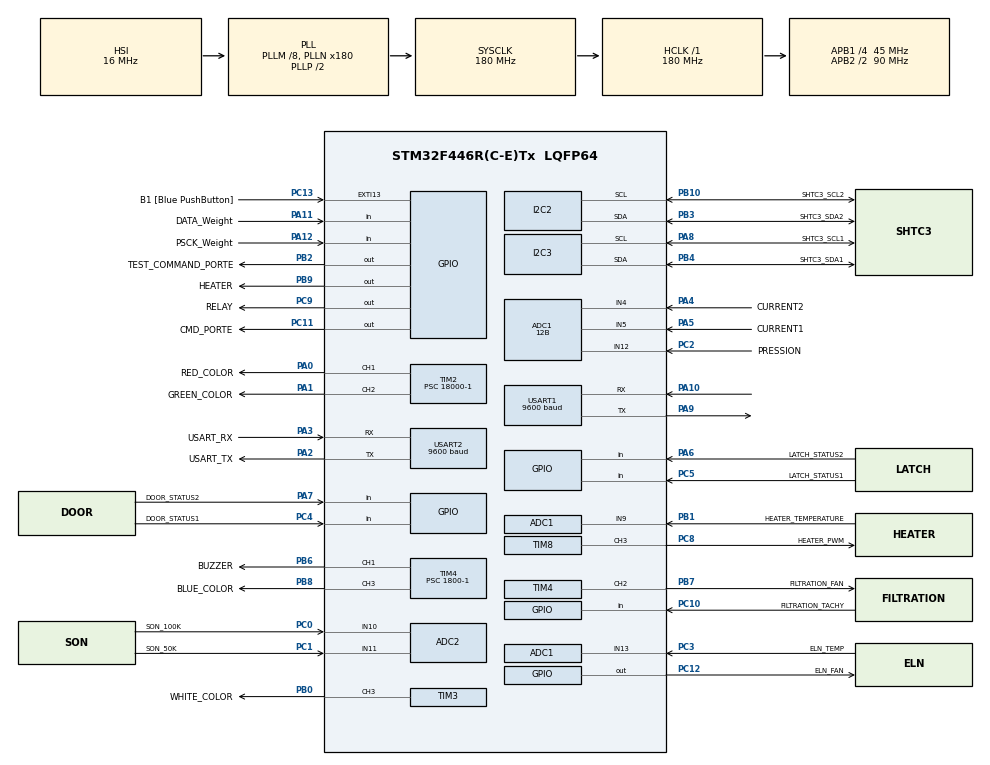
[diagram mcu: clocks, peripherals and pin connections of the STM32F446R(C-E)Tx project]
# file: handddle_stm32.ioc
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ADC1.Channel-0\#ChannelRegularConversion=ADC_CHANNEL_4
ADC1.Channel-1\#ChannelRegularConversion=ADC_CHANNEL_5
ADC1.Channel-2\#ChannelRegularConversion=ADC_CHANNEL_12
ADC1.Channel-3\#ChannelRegularConversion=ADC_CHANNEL_13
ADC1.Channel-4\#ChannelRegularConversion=ADC_CHANNEL_9
ADC1.ClockPrescaler=ADC_CLOCK_SYNC_PCLK_DIV6
ADC1.ContinuousConvMode=ENABLE
ADC1.NbrOfConversion=5
ADC1.NbrOfConversionFlag=1
ADC1.Rank-0\#ChannelRegularConversion=1
ADC1.Rank-1\#ChannelRegularConversion=2
ADC1.Rank-2\#ChannelRegularConversion=3
ADC1.Rank-3\#ChannelRegularConversion=4
ADC1.Rank-4\#ChannelRegularConversion=5
ADC1.Resolution=ADC_RESOLUTION_12B
ADC1.SamplingTime-0\#ChannelRegularConversion=ADC_SAMPLETIME_112CYCLES
ADC1.SamplingTime-1\#ChannelRegularConversion=ADC_SAMPLETIME_112CYCLES
ADC1.SamplingTime-2\#ChannelRegularConversion=ADC_SAMPLETIME_3CYCLES
ADC1.SamplingTime-3\#ChannelRegularConversion=ADC_SAMPLETIME_3CYCLES
ADC1.SamplingTime-4\#ChannelRegularConversion=ADC_SAMPLETIME_3CYCLES
ADC1.ScanConvMode=ENABLE
ADC1.master=1
ADC2.Channel-0\#ChannelRegularConversion=ADC_CHANNEL_10
ADC2.Channel-1\#ChannelRegularConversion=ADC_CHANNEL_11
ADC2.ClockPrescaler=ADC_CLOCK_SYNC_PCLK_DIV6
ADC2.DMAContinuousRequests=ENABLE
ADC2.NbrOfConversion=2
ADC2.NbrOfConversionFlag=1
ADC2.Rank-0\#ChannelRegularConversion=1
ADC2.Rank-1\#ChannelRegularConversion=2
ADC2.SamplingTime-0\#ChannelRegularConversion=ADC_SAMPLETIME_3CYCLES
ADC2.SamplingTime-1\#ChannelRegularConversion=ADC_SAMPLETIME_3CYCLES
Dma.ADC2.0.Direction=DMA_PERIPH_TO_MEMORY
Dma.ADC2.0.FIFOMode=DMA_FIFOMODE_DISABLE
Dma.ADC2.0.Instance=DMA2_Stream2
Dma.ADC2.0.MemDataAlignment=DMA_MDATAALIGN_HALFWORD
Dma.ADC2.0.MemInc=DMA_MINC_ENABLE
Dma.ADC2.0.Mode=DMA_CIRCULAR
Dma.ADC2.0.PeriphDataAlignment=DMA_PDATAALIGN_HALFWORD
Dma.ADC2.0.PeriphInc=DMA_PINC_DISABLE
Dma.ADC2.0.Priority=DMA_PRIORITY_LOW
Dma.Request0=ADC2
I2C2.I2C_Mode=I2C_Standard
I2C2.OwnAddress=0
I2C3.OwnAddress=0
Mcu.Family=STM32F4
Mcu.Name=STM32F446R(C-E)Tx
Mcu.Package=LQFP64
NVIC.ADC_IRQn=true\:0\:0\:false\:false\:true\:true\:true
NVIC.DMA2_Stream2_IRQn=true\:0\:0\:false\:false\:true\:false\:true
NVIC.PriorityGroup=NVIC_PRIORITYGROUP_2
NVIC.TIM1_BRK_TIM9_IRQn=true\:0\:0\:false\:false\:true\:true\:true
NVIC.TIM1_UP_TIM10_IRQn=true\:1\:0\:true\:false\:true\:true\:true
NVIC.TIM7_IRQn=true\:3\:0\:true\:false\:true\:true\:true
NVIC.TIM8_UP_TIM13_IRQn=true\:0\:0\:false\:false\:true\:true\:true
NVIC.USART1_IRQn=true\:0\:0\:false\:false\:true\:true\:true
NVIC.USART2_IRQn=true\:0\:0\:false\:false\:true\:true\:true
PA0-WKUP.GPIO_Label=RED_COLOR
PA0-WKUP.Signal=S_TIM2_CH1_ETR
PA1.GPIO_Label=GREEN_COLOR
PA1.Signal=S_TIM2_CH2
PA10.Mode=Asynchronous
PA10.Signal=USART1_RX
PA11.GPIO_Label=DATA_Weight
PA11.Signal=GPIO_Input
PA12.GPIO_Label=PSCK_Weight
PA12.Signal=GPIO_Input
PA13.GPIO_Label=TMS
PA13.Signal=SYS_JTMS-SWDIO
PA14.Signal=SYS_JTCK-SWCLK
PA2.GPIO_Label=USART_TX
PA2.Mode=Asynchronous
PA2.Signal=USART2_TX
PA3.GPIO_Label=USART_RX
PA3.Mode=Asynchronous
PA3.Signal=USART2_RX
PA4.GPIO_Label=CURRENT2
PA4.Signal=ADCx_IN4
PA5.GPIO_Label=CURRENT1
PA5.Signal=ADCx_IN5
PA6.GPIO_Label=LATCH_STATUS2
PA6.GPIO_PuPd=GPIO_PULLUP
PA6.Signal=GPIO_Input
PA7.GPIO_Label=DOOR_STATUS2
PA7.GPIO_PuPd=GPIO_NOPULL
PA7.Signal=GPIO_Input
PA8.GPIO_Label=SHTC3_SCL1
PA8.GPIO_Pu=GPIO_PULLUP
PA8.Mode=I2C
PA8.Signal=I2C3_SCL
PA9.Mode=Asynchronous
PA9.Signal=USART1_TX
PB0.GPIO_Label=WHITE_COLOR
PB0.Signal=S_TIM3_CH3
PB1.GPIO_Label=HEATER_TEMPERATURE
PB1.Signal=ADCx_IN9
PB10.GPIO_Label=SHTC3_SCL2
PB10.GPIO_Pu=GPIO_PULLUP
PB10.Mode=I2C
PB10.Signal=I2C2_SCL
PB2.GPIO_Label=TEST_COMMAND_PORTE
PB2.Signal=GPIO_Output
PB3.GPIO_Label=SHTC3_SDA2
PB3.GPIO_Pu=GPIO_PULLUP
PB3.Mode=I2C
PB3.Signal=I2C2_SDA
PB4.GPIO_Label=SHTC3_SDA1
PB4.GPIO_Pu=GPIO_PULLUP
PB4.Mode=I2C
PB4.Signal=I2C3_SDA
PB6.GPIO_Label=BUZZER
PB6.Signal=S_TIM4_CH1
PB7.GPIO_Label=FILTRATION_FAN
PB7.Signal=S_TIM4_CH2
PB8.GPIO_Label=BLUE_COLOR
PB8.Signal=S_TIM4_CH3
PB9.GPIO_Label=HEATER
PB9.Signal=GPIO_Output
PC0.GPIO_Label=SON_100K
PC0.Signal=ADCx_IN10
PC1.GPIO_Label=SON_50K
PC1.Signal=ADCx_IN11
PC10.GPIO_Label=FILTRATION_TACHY
PC10.Signal=GPIO_Input
PC11.GPIO_Label=CMD_PORTE
PC11.Signal=GPIO_Output
PC12.GPIO_Label=ELN_FAN
PC12.Signal=GPIO_Output
PC13.GPIO_Label=B1 [Blue PushButton]
PC13.GPIO_ModeDefaultEXTI=GPIO_MODE_IT_FALLING
PC13.Signal=GPXTI13
PC14-OSC32_IN.Mode=LSE-External-Oscillator
PC14-OSC32_IN.Signal=RCC_OSC32_IN
PC15-OSC32_OUT.Mode=LSE-External-Oscillator
PC15-OSC32_OUT.Signal=RCC_OSC32_OUT
PC2.GPIO_Label=PRESSION
PC2.Signal=ADCx_IN12
PC3.GPIO_Label=ELN_TEMP
PC3.Signal=ADCx_IN13
PC4.GPIO_Label=DOOR_STATUS1
PC4.GPIO_PuPd=GPIO_PULLUP
PC4.Signal=GPIO_Input
PC5.GPIO_Label=LATCH_STATUS1
PC5.GPIO_PuPd=GPIO_PULLUP
PC5.Signal=GPIO_Input
PC6.GPIO_Label=HEATER_TACHY
PC6.Signal=S_TIM8_CH1
PC8.GPIO_Label=HEATER_PWM
PC8.Signal=S_TIM8_CH3
PC9.GPIO_Label=RELAY
PC9.GPIO_PuPd=GPIO_PULLDOWN
PC9.PinState=GPIO_PIN_RESET
PC9.Signal=GPIO_Output
PH0-OSC_IN.Mode=HSE-External-Oscillator
PH0-OSC_IN.Signal=RCC_OSC_IN
PH1-OSC_OUT.Mode=HSE-External-Oscillator
PH1-OSC_OUT.Signal=RCC_OSC_OUT
ProjectManager.HeapSize=0x200
ProjectManager.StackSize=0x400
ProjectManager.TargetToolchain=STM32CubeIDE
RCC.48MHZClocksFreq_Value=84000000
RCC.AHBFreq_Value=180000000
RCC.APB1CLKDivider=RCC_HCLK_DIV4
RCC.APB1Freq_Value=45000000
RCC.APB1TimFreq_Value=90000000
RCC.APB2CLKDivider=RCC_HCLK_DIV2
RCC.APB2Freq_Value=90000000
RCC.APB2TimFreq_Value=180000000
RCC.CortexFreq_Value=180000000
RCC.FLatency-AdvancedSettings=FLASH_LATENCY_5
RCC.HCLKFreq_Value=180000000
RCC.HSE_VALUE=8000000
RCC.HSI_VALUE=16000000
RCC.PLLM=8
RCC.PLLN=180
RCC.SYSCLKFreq_VALUE=180000000
RCC.SYSCLKSource=RCC_SYSCLKSOURCE_PLLCLK
RCC.USBFreq_Value=180000000
RCC.VCOOutputFreq_Value=360000000
SH.ADCx_IN10.0=ADC2_IN10,IN10
SH.ADCx_IN11.0=ADC2_IN11,IN11
SH.ADCx_IN12.0=ADC1_IN12,IN12
SH.ADCx_IN13.0=ADC1_IN13,IN13
SH.ADCx_IN4.0=ADC1_IN4,IN4
SH.ADCx_IN5.0=ADC1_IN5,IN5
SH.ADCx_IN9.0=ADC1_IN9,IN9
SH.S_TIM2_CH1_ETR.0=TIM2_CH1,PWM Generation1 CH1
SH.S_TIM2_CH2.0=TIM2_CH2,PWM Generation2 CH2
SH.S_TIM3_CH3.0=TIM3_CH3,PWM Generation3 CH3
SH.S_TIM4_CH1.0=TIM4_CH1,PWM Generation1 CH1
SH.S_TIM4_CH2.0=TIM4_CH2,PWM Generation2 CH2
SH.S_TIM4_CH3.0=TIM4_CH3,PWM Generation3 CH3
SH.S_TIM8_CH1.0=TIM8_CH1
SH.S_TIM8_CH3.0=TIM8_CH3,PWM Generation3 CH3
TIM1.Period=1000-1
TIM1.Prescaler=18000-1
TIM10.Period=50-1
TIM10.Prescaler=18000-1
TIM2.Channel-PWM\ Generation1\ CH1=TIM_CHANNEL_1
TIM2.Channel-PWM\ Generation2\ CH2=TIM_CHANNEL_2
TIM2.Period=100-1
TIM2.Prescaler=18000-1
TIM3.Channel-PWM\ Generation3\ CH3=TIM_CHANNEL_3
TIM3.Period=100-1
TIM3.Prescaler=90-1
TIM4.Channel-PWM\ Generation1\ CH1=TIM_CHANNEL_1
TIM4.Channel-PWM\ Generation2\ CH2=TIM_CHANNEL_2
TIM4.Channel-PWM\ Generation3\ CH3=TIM_CHANNEL_3
TIM4.Period=100-1
TIM4.Prescaler=1800-1
TIM6.Period=20000
TIM6.Prescaler=90-1
TIM6.TIM_MasterOutputTrigger=TIM_TRGO_RESET
TIM7.Period=90-1
TIM7.Prescaler=10-1
TIM8.Channel-PWM\ Generation3\ CH3=TIM_CHANNEL_3
TIM8.Period=100-1
TIM8.Prescaler=90-1
USART1.BaudRate=9600
USART1.VirtualMode=VM_ASYNC
USART2.BaudRate=9600
USART2.VirtualMode=VM_ASYNC
VP_TIM10_VS_ClockSourceINT.Mode=Enable_Timer
VP_TIM1_VS_ClockSourceINT.Mode=Internal
VP_TIM6_VS_ClockSourceINT.Mode=Enable_Timer
VP_TIM7_VS_ClockSourceINT.Mode=Enable_Timer
board=NUCLEO-F446RE

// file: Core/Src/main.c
/* USER CODE BEGIN Header */
/**
  ******************************************************************************
  * @file           : main.c
  * @brief          : Main program body
  ******************************************************************************
  * @attention
  *
  * <h2><center>&copy; Copyright (c) 2021 STMicroelectronics.
  * All rights reserved.</center></h2>
  *
  * This software component is licensed by ST under BSD 3-Clause license,
  * the "License"; You may not use this file except in compliance with the
  * License. You may obtain a copy of the License at:
  *                        opensource.org/licenses/BSD-3-Clause
  *
  ******************************************************************************
  */
/* USER CODE END Header */
#include "main.h"

/* USER CODE BEGIN Includes */
#include "../Inc/main.h"
#include "../../Transport/Parser/parser.h"
#include "../../Lib/inc/ELN_temperature.h"
#include "../../Lib/inc/Microphone.h"
#include "../../Lib/inc/Demo.h"
#include "../../Lib/inc/Current.h"
#include "../../Lib/inc/Fire.h"
#include "../../Lib/inc/Temp_humi.h"
#include "../../Lib/inc/Typology.h"
#include "../../Transport/Msg_gen/Main_msg_gen/main_msg_gen.h"
#include "../../Transport/Parser/Cmd_msg_parser/cmd_msg_parser.h"
#include <string.h>

#include "../../Lib/inc/Weight.h"

/* USER CODE END Includes */

/* USER CODE BEGIN PD */

// Maximum Security Constant
#define TEMPERATURE_BREAKDOWN 60.0

// For CMD Door
#define CLOSE_DOOR 0

//BUZZER IN SECOND
#define MAX_OPENING_TIME_M 60
#define MAX_OPENING_TIME_PT 300

/* USER CODE END PD */

ADC_HandleTypeDef hadc1;
ADC_HandleTypeDef hadc2;
DMA_HandleTypeDef hdma_adc2;

I2C_HandleTypeDef hi2c2;
I2C_HandleTypeDef hi2c3;

TIM_HandleTypeDef htim1;
TIM_HandleTypeDef htim2;
TIM_HandleTypeDef htim3;
TIM_HandleTypeDef htim4;
TIM_HandleTypeDef htim6;
TIM_HandleTypeDef htim7;
TIM_HandleTypeDef htim8;
TIM_HandleTypeDef htim10;

UART_HandleTypeDef huart1;
UART_HandleTypeDef huart2;

void SystemClock_Config(void);
static void MX_GPIO_Init(void);
static void MX_DMA_Init(void);
static void MX_ADC1_Init(void);
static void MX_TIM2_Init(void);
static void MX_USART2_UART_Init(void);
static void MX_USART1_UART_Init(void);
static void MX_TIM3_Init(void);
static void MX_TIM4_Init(void);
static void MX_TIM6_Init(void);
static void MX_I2C2_Init(void);
static void MX_I2C3_Init(void);
static void MX_ADC2_Init(void);
static void MX_TIM8_Init(void);
static void MX_TIM7_Init(void);
static void MX_TIM10_Init(void);
static void MX_TIM1_Init(void);
/* USER CODE BEGIN PFP */
void HAL_TIM_MspPostInit(TIM_HandleTypeDef *htim);
/* USER CODE END PFP */

/* USER CODE BEGIN 0 */

// Buffer used to store received bytes from the Jetson card
uint8_t Rx_buffer[MSG_SIZE];

// System active Variable
int system_is_active = SYSTEM_ACTIVE;

// Night Mode
int night_mode = NIGHT_MODE_INACTIVE;

// Manual Mode
uint8_t manual_mode = MODE_MANUAL;
uint8_t manual_mode_temperature = MODE_MANUAL;
uint8_t manual_mode_filtration = MODE_MANUAL;

// Opening Door Request
int req_opening_door = false;

// Counter Variables
int cpt_htim7 = 0;
int cpt_current_ADC_EN = 0;
int cpt_1sec_EN = 0;
int cpt_current_EN = 0;
int cpt_data_tx_EN = 0;

// Current Counter Variable
volatile int index_adc_current = 0;

// Delay Counter Variable
volatile int delay_counter = 0; // +1 each 1.002 sec

/* Door State Variable */
int status = CLOSED; // Variable EE
uint8_t cmd_door_state; // Variable cmd

// State Diagram Variable
int state = 4; // TODO Define states constants
int preheat_over = false;

// Relay variable
int CMD_Relay = false;
uint16_t relay_state = true;

// Buzzer linked Variable
int buzzer_state = 1; // TODO Define buzzer states
int compteur_buzzer = 0, compteur_porte = 0;
int CPT_CoolingDoorClosed = COOLING_T_DOOR_CLOSED; // //Faire +2 sur le temps souhaité pour avoir le temps réel
int fermeture_porte=0;
int i_timer1 = 0;

const int LOW_STATE_TIME = 3;
const int HIGH_STATE_TIME = 2;

const int HIGH_STATE_TIME_BUZZER_M = MAX_OPENING_TIME_M + HIGH_STATE_TIME;
const int LOW_STATE_TIME_BUZZER_M = MAX_OPENING_TIME_M - LOW_STATE_TIME;

const int HIGH_STATE_TIME_BUZZER_PT = MAX_OPENING_TIME_PT + HIGH_STATE_TIME;
const int LOW_STATE_TIME_BUZZER_PT = MAX_OPENING_TIME_PT - LOW_STATE_TIME;

// Light Variable
extern int light;
int p_light;

// Temperatures & Humidity variables
int desired_temperature = 22;
float desired_temperature_manual = 0;
float moy_temperature = 0;
float moy_humidity = 0;

// Current variables
int current_breakdown = 0;

// Current variables
extern int tab_ConsumptionValues[1000];
extern int i_current;
extern int Incorrect_Values;
int i_timer7 = 0;
extern int i_timer5;
int Cycle_Printer;
int last_watchdog_time = 0;
float tabEXEMPLE[1500];
float tabEXEMPLE2[1500];
float MAX; //extern
float MIN; // extern

// Weight sensor
int getWeight;
int cpt_GetWeight;

//  Initializing door state
int DOOR_Previous_State;

// HEATING & COOLING
int temperature;
int DELTA = 1.0;
extern int heater_actif, dutycycle_heater;
int dutycycle_cooling = 0;

// Pressure
int c_Pressure = 0, p_Pressure = 0, DELTA_Pressure = 50;

//Fire variable
uint16_t co2;
uint16_t tvoc;
int Fire;

/* USER CODE END 0 */

int main(void)
{

  /* MCU Configuration--------------------------------------------------------*/

  /* Reset of all peripherals, Initializes the Flash interface and the Systick. */
  HAL_Init();

  /* Configure the system clock */
  SystemClock_Config();

  /* Initialize all configured peripherals */
  MX_GPIO_Init();
  MX_DMA_Init();
  MX_ADC1_Init();
  MX_TIM2_Init();
  MX_USART2_UART_Init();
  MX_USART1_UART_Init();
  MX_TIM3_Init();
  MX_TIM4_Init();
  MX_TIM6_Init();
  MX_I2C2_Init();
  MX_I2C3_Init();
  MX_ADC2_Init();
  MX_TIM8_Init();
  MX_TIM7_Init();
  MX_TIM10_Init();
  MX_TIM1_Init();
  /* USER CODE BEGIN 2 */

	// Start Timers
	HAL_TIM_Base_Start_IT(&htim7);

	// Start UART reception
	HAL_UART_Receive_IT(&huart2, Rx_buffer, MSG_SIZE);
	send_cmd_ack_with_value(&huart2, 100);

	// Init values to STOP
	int pwm_stop = 0;
	set_heater_pwm(pwm_stop);
	set_heater(pwm_stop);
//	set_cooling(100);

	//White color as default
	if((MSG_HEADER_UID_1 == TYPE_MACHINE_RACK) || (MSG_HEADER_UID_1 == TYPE_MACHINE_TOIT)) light = WHITE_DOOR_OPEN;
	else if(MSG_HEADER_UID_1 == TYPE_POST_TREATMENT) light = WHITE_PT;
	p_light = light;
	set_lights(light);

	//For heater
	if(MSG_HEADER_UID_1 == TYPE_MACHINE_RACK) heater_actif = 0;

	// DOOR lock
	set_unlock(status);
	DOOR_Previous_State = get_door_state();

	// Initialization weight
	Calibration();
	cpt_GetWeight=0;

	//Initialize SGP30
	if(-1 == sgp30_init()) {
		//fail
		//wait
		while(1);
	} //else success of init

	if(MSG_HEADER_UID_1 == TYPE_MACHINE_RACK) heater_actif = 0;

	//Current
	MAX = tabEXEMPLE[0]; //extern
	MIN = tabEXEMPLE[0]; // extern

  /* USER CODE END 2 */

  /* Infinite loop */
  /* USER CODE BEGIN WHILE */
  while (1)
  {
	  if(system_is_active == SYSTEM_ACTIVE && MSG_HEADER_UID_1 != TYPE_MP)
	  {
//		  if(MSG_HEADER_UID_1 == TYPE_MACHINE_TOIT || MSG_HEADER_UID_1 == TYPE_POST_TREATMENT) door_cycle();
//		  asservissement(desired_temperature);// Asservissement chauffage
//		  HAL_Delay(50);
	}

    /* USER CODE END WHILE */

  }
}

void SystemClock_Config(void)
{
  RCC_OscInitTypeDef RCC_OscInitStruct = {0};
  RCC_ClkInitTypeDef RCC_ClkInitStruct = {0};

  /** Configure the main internal regulator output voltage
  */
  __HAL_RCC_PWR_CLK_ENABLE();
  __HAL_PWR_VOLTAGESCALING_CONFIG(PWR_REGULATOR_VOLTAGE_SCALE1);
  /** Initializes the RCC Oscillators according to the specified parameters
  * in the RCC_OscInitTypeDef structure.
  */
  RCC_OscInitStruct.OscillatorType = RCC_OSCILLATORTYPE_HSI;
  RCC_OscInitStruct.HSIState = RCC_HSI_ON;
  RCC_OscInitStruct.HSICalibrationValue = RCC_HSICALIBRATION_DEFAULT;
  RCC_OscInitStruct.PLL.PLLState = RCC_PLL_ON;
  RCC_OscInitStruct.PLL.PLLSource = RCC_PLLSOURCE_HSI;
  RCC_OscInitStruct.PLL.PLLM = 8;
  RCC_OscInitStruct.PLL.PLLN = 180;
  RCC_OscInitStruct.PLL.PLLP = RCC_PLLP_DIV2;
  RCC_OscInitStruct.PLL.PLLQ = 2;
  RCC_OscInitStruct.PLL.PLLR = 2;
  if (HAL_RCC_OscConfig(&RCC_OscInitStruct) != HAL_OK)
  {
    Error_Handler();
  }
  /** Activate the Over-Drive mode
  */
  if (HAL_PWREx_EnableOverDrive() != HAL_OK)
  {
    Error_Handler();
  }
  /** Initializes the CPU, AHB and APB buses clocks
  */
  RCC_ClkInitStruct.ClockType = RCC_CLOCKTYPE_HCLK|RCC_CLOCKTYPE_SYSCLK
                              |RCC_CLOCKTYPE_PCLK1|RCC_CLOCKTYPE_PCLK2;
  RCC_ClkInitStruct.SYSCLKSource = RCC_SYSCLKSOURCE_PLLCLK;
  RCC_ClkInitStruct.AHBCLKDivider = RCC_SYSCLK_DIV1;
  RCC_ClkInitStruct.APB1CLKDivider = RCC_HCLK_DIV4;
  RCC_ClkInitStruct.APB2CLKDivider = RCC_HCLK_DIV2;

  if (HAL_RCC_ClockConfig(&RCC_ClkInitStruct, FLASH_LATENCY_5) != HAL_OK)
  {
    Error_Handler();
  }
}

static void MX_ADC1_Init(void)
{

  ADC_ChannelConfTypeDef sConfig = {0};

  /** Configure the global features of the ADC (Clock, Resolution, Data Alignment and number of conversion)
  */
  hadc1.Instance = ADC1;
  hadc1.Init.ClockPrescaler = ADC_CLOCK_SYNC_PCLK_DIV6;
  hadc1.Init.Resolution = ADC_RESOLUTION_12B;
  hadc1.Init.ScanConvMode = ENABLE;
  hadc1.Init.ContinuousConvMode = ENABLE;
  hadc1.Init.DiscontinuousConvMode = DISABLE;
  hadc1.Init.ExternalTrigConvEdge = ADC_EXTERNALTRIGCONVEDGE_NONE;
  hadc1.Init.ExternalTrigConv = ADC_SOFTWARE_START;
  hadc1.Init.DataAlign = ADC_DATAALIGN_RIGHT;
  hadc1.Init.NbrOfConversion = 5;
  hadc1.Init.DMAContinuousRequests = DISABLE;
  hadc1.Init.EOCSelection = ADC_EOC_SINGLE_CONV;
  if (HAL_ADC_Init(&hadc1) != HAL_OK)
  {
    Error_Handler();
  }
  /** Configure for the selected ADC regular channel its corresponding rank in the sequencer and its sample time.
  */
  sConfig.Channel = ADC_CHANNEL_4;
  sConfig.Rank = 1;
  sConfig.SamplingTime = ADC_SAMPLETIME_112CYCLES;
  if (HAL_ADC_ConfigChannel(&hadc1, &sConfig) != HAL_OK)
  {
    Error_Handler();
  }
  /** Configure for the selected ADC regular channel its corresponding rank in the sequencer and its sample time.
  */
  sConfig.Channel = ADC_CHANNEL_5;
  sConfig.Rank = 2;
  if (HAL_ADC_ConfigChannel(&hadc1, &sConfig) != HAL_OK)
  {
    Error_Handler();
  }
  /** Configure for the selected ADC regular channel its corresponding rank in the sequencer and its sample time.
  */
  sConfig.Channel = ADC_CHANNEL_12;
  sConfig.Rank = 3;
  sConfig.SamplingTime = ADC_SAMPLETIME_3CYCLES;
  if (HAL_ADC_ConfigChannel(&hadc1, &sConfig) != HAL_OK)
  {
    Error_Handler();
  }
  /** Configure for the selected ADC regular channel its corresponding rank in the sequencer and its sample time.
  */
  sConfig.Channel = ADC_CHANNEL_13;
  sConfig.Rank = 4;
  if (HAL_ADC_ConfigChannel(&hadc1, &sConfig) != HAL_OK)
  {
    Error_Handler();
  }
  /** Configure for the selected ADC regular channel its corresponding rank in the sequencer and its sample time.
  */
  sConfig.Channel = ADC_CHANNEL_9;
  sConfig.Rank = 5;
  if (HAL_ADC_ConfigChannel(&hadc1, &sConfig) != HAL_OK)
  {
    Error_Handler();
  }

}

static void MX_ADC2_Init(void)
{

  ADC_ChannelConfTypeDef sConfig = {0};

  /** Configure the global features of the ADC (Clock, Resolution, Data Alignment and number of conversion)
  */
  hadc2.Instance = ADC2;
  hadc2.Init.ClockPrescaler = ADC_CLOCK_SYNC_PCLK_DIV6;
  hadc2.Init.Resolution = ADC_RESOLUTION_12B;
  hadc2.Init.ScanConvMode = ENABLE;
  hadc2.Init.ContinuousConvMode = ENABLE;
  hadc2.Init.DiscontinuousConvMode = DISABLE;
  hadc2.Init.ExternalTrigConvEdge = ADC_EXTERNALTRIGCONVEDGE_NONE;
  hadc2.Init.ExternalTrigConv = ADC_SOFTWARE_START;
  hadc2.Init.DataAlign = ADC_DATAALIGN_RIGHT;
  hadc2.Init.NbrOfConversion = 2;
  hadc2.Init.DMAContinuousRequests = ENABLE;
  hadc2.Init.EOCSelection = ADC_EOC_SINGLE_CONV;
  if (HAL_ADC_Init(&hadc2) != HAL_OK)
  {
    Error_Handler();
  }
  /** Configure for the selected ADC regular channel its corresponding rank in the sequencer and its sample time.
  */
  sConfig.Channel = ADC_CHANNEL_10;
  sConfig.Rank = 1;
  sConfig.SamplingTime = ADC_SAMPLETIME_3CYCLES;
  if (HAL_ADC_ConfigChannel(&hadc2, &sConfig) != HAL_OK)
  {
    Error_Handler();
  }
  /** Configure for the selected ADC regular channel its corresponding rank in the sequencer and its sample time.
  */
  sConfig.Channel = ADC_CHANNEL_11;
  sConfig.Rank = 2;
  if (HAL_ADC_ConfigChannel(&hadc2, &sConfig) != HAL_OK)
  {
    Error_Handler();
  }

}

static void MX_I2C2_Init(void)
{

  hi2c2.Instance = I2C2;
  hi2c2.Init.ClockSpeed = 100000;
  hi2c2.Init.DutyCycle = I2C_DUTYCYCLE_2;
  hi2c2.Init.OwnAddress1 = 0;
  hi2c2.Init.AddressingMode = I2C_ADDRESSINGMODE_7BIT;
  hi2c2.Init.DualAddressMode = I2C_DUALADDRESS_DISABLE;
  hi2c2.Init.OwnAddress2 = 0;
  hi2c2.Init.GeneralCallMode = I2C_GENERALCALL_DISABLE;
  hi2c2.Init.NoStretchMode = I2C_NOSTRETCH_DISABLE;
  if (HAL_I2C_Init(&hi2c2) != HAL_OK)
  {
    Error_Handler();
  }

}

static void MX_I2C3_Init(void)
{

  hi2c3.Instance = I2C3;
  hi2c3.Init.ClockSpeed = 100000;
  hi2c3.Init.DutyCycle = I2C_DUTYCYCLE_2;
  hi2c3.Init.OwnAddress1 = 0;
  hi2c3.Init.AddressingMode = I2C_ADDRESSINGMODE_7BIT;
  hi2c3.Init.DualAddressMode = I2C_DUALADDRESS_DISABLE;
  hi2c3.Init.OwnAddress2 = 0;
  hi2c3.Init.GeneralCallMode = I2C_GENERALCALL_DISABLE;
  hi2c3.Init.NoStretchMode = I2C_NOSTRETCH_DISABLE;
  if (HAL_I2C_Init(&hi2c3) != HAL_OK)
  {
    Error_Handler();
  }

}

static void MX_TIM1_Init(void)
{

  TIM_ClockConfigTypeDef sClockSourceConfig = {0};
  TIM_MasterConfigTypeDef sMasterConfig = {0};

  htim1.Instance = TIM1;
  htim1.Init.Prescaler = 18000-1;
  htim1.Init.CounterMode = TIM_COUNTERMODE_UP;
  htim1.Init.Period = 1000-1;
  htim1.Init.ClockDivision = TIM_CLOCKDIVISION_DIV1;
  htim1.Init.RepetitionCounter = 0;
  htim1.Init.AutoReloadPreload = TIM_AUTORELOAD_PRELOAD_DISABLE;
  if (HAL_TIM_Base_Init(&htim1) != HAL_OK)
  {
    Error_Handler();
  }
  sClockSourceConfig.ClockSource = TIM_CLOCKSOURCE_INTERNAL;
  if (HAL_TIM_ConfigClockSource(&htim1, &sClockSourceConfig) != HAL_OK)
  {
    Error_Handler();
  }
  sMasterConfig.MasterOutputTrigger = TIM_TRGO_RESET;
  sMasterConfig.MasterSlaveMode = TIM_MASTERSLAVEMODE_DISABLE;
  if (HAL_TIMEx_MasterConfigSynchronization(&htim1, &sMasterConfig) != HAL_OK)
  {
    Error_Handler();
  }

}

static void MX_TIM2_Init(void)
{

  TIM_MasterConfigTypeDef sMasterConfig = {0};
  TIM_OC_InitTypeDef sConfigOC = {0};

  htim2.Instance = TIM2;
  htim2.Init.Prescaler = 18000-1;
  htim2.Init.CounterMode = TIM_COUNTERMODE_UP;
  htim2.Init.Period = 100-1;
  htim2.Init.ClockDivision = TIM_CLOCKDIVISION_DIV1;
  htim2.Init.AutoReloadPreload = TIM_AUTORELOAD_PRELOAD_DISABLE;
  if (HAL_TIM_PWM_Init(&htim2) != HAL_OK)
  {
    Error_Handler();
  }
  sMasterConfig.MasterOutputTrigger = TIM_TRGO_RESET;
  sMasterConfig.MasterSlaveMode = TIM_MASTERSLAVEMODE_DISABLE;
  if (HAL_TIMEx_MasterConfigSynchronization(&htim2, &sMasterConfig) != HAL_OK)
  {
    Error_Handler();
  }
  sConfigOC.OCMode = TIM_OCMODE_PWM1;
  sConfigOC.Pulse = 0;
  sConfigOC.OCPolarity = TIM_OCPOLARITY_HIGH;
  sConfigOC.OCFastMode = TIM_OCFAST_DISABLE;
  if (HAL_TIM_PWM_ConfigChannel(&htim2, &sConfigOC, TIM_CHANNEL_1) != HAL_OK)
  {
    Error_Handler();
  }
  if (HAL_TIM_PWM_ConfigChannel(&htim2, &sConfigOC, TIM_CHANNEL_2) != HAL_OK)
  {
    Error_Handler();
  }
  HAL_TIM_MspPostInit(&htim2);

}

static void MX_TIM3_Init(void)
{

  TIM_MasterConfigTypeDef sMasterConfig = {0};
  TIM_OC_InitTypeDef sConfigOC = {0};

  htim3.Instance = TIM3;
  htim3.Init.Prescaler = 90-1;
  htim3.Init.CounterMode = TIM_COUNTERMODE_UP;
  htim3.Init.Period = 100-1;
  htim3.Init.ClockDivision = TIM_CLOCKDIVISION_DIV1;
  htim3.Init.AutoReloadPreload = TIM_AUTORELOAD_PRELOAD_DISABLE;
  if (HAL_TIM_PWM_Init(&htim3) != HAL_OK)
  {
    Error_Handler();
  }
  sMasterConfig.MasterOutputTrigger = TIM_TRGO_RESET;
  sMasterConfig.MasterSlaveMode = TIM_MASTERSLAVEMODE_DISABLE;
  if (HAL_TIMEx_MasterConfigSynchronization(&htim3, &sMasterConfig) != HAL_OK)
  {
    Error_Handler();
  }
  sConfigOC.OCMode = TIM_OCMODE_PWM1;
  sConfigOC.Pulse = 0;
  sConfigOC.OCPolarity = TIM_OCPOLARITY_HIGH;
  sConfigOC.OCFastMode = TIM_OCFAST_DISABLE;
  if (HAL_TIM_PWM_ConfigChannel(&htim3, &sConfigOC, TIM_CHANNEL_3) != HAL_OK)
  {
    Error_Handler();
  }
  HAL_TIM_MspPostInit(&htim3);

}

static void MX_TIM4_Init(void)
{

  TIM_MasterConfigTypeDef sMasterConfig = {0};
  TIM_OC_InitTypeDef sConfigOC = {0};

  htim4.Instance = TIM4;
  htim4.Init.Prescaler = 1800-1;
  htim4.Init.CounterMode = TIM_COUNTERMODE_UP;
  htim4.Init.Period = 100-1;
  htim4.Init.ClockDivision = TIM_CLOCKDIVISION_DIV1;
  htim4.Init.AutoReloadPreload = TIM_AUTORELOAD_PRELOAD_DISABLE;
  if (HAL_TIM_PWM_Init(&htim4) != HAL_OK)
  {
    Error_Handler();
  }
  sMasterConfig.MasterOutputTrigger = TIM_TRGO_RESET;
  sMasterConfig.MasterSlaveMode = TIM_MASTERSLAVEMODE_DISABLE;
  if (HAL_TIMEx_MasterConfigSynchronization(&htim4, &sMasterConfig) != HAL_OK)
  {
    Error_Handler();
  }
  sConfigOC.OCMode = TIM_OCMODE_PWM1;
  sConfigOC.Pulse = 0;
  sConfigOC.OCPolarity = TIM_OCPOLARITY_HIGH;
  sConfigOC.OCFastMode = TIM_OCFAST_DISABLE;
  if (HAL_TIM_PWM_ConfigChannel(&htim4, &sConfigOC, TIM_CHANNEL_1) != HAL_OK)
  {
    Error_Handler();
  }
  if (HAL_TIM_PWM_ConfigChannel(&htim4, &sConfigOC, TIM_CHANNEL_2) != HAL_OK)
  {
    Error_Handler();
  }
  if (HAL_TIM_PWM_ConfigChannel(&htim4, &sConfigOC, TIM_CHANNEL_3) != HAL_OK)
  {
    Error_Handler();
  }
  HAL_TIM_MspPostInit(&htim4);

}

static void MX_TIM6_Init(void)
{

  TIM_MasterConfigTypeDef sMasterConfig = {0};

  htim6.Instance = TIM6;
  htim6.Init.Prescaler = 90-1;
  htim6.Init.CounterMode = TIM_COUNTERMODE_UP;
  htim6.Init.Period = 20000;
  htim6.Init.AutoReloadPreload = TIM_AUTORELOAD_PRELOAD_DISABLE;
  if (HAL_TIM_Base_Init(&htim6) != HAL_OK)
  {
    Error_Handler();
  }
  sMasterConfig.MasterOutputTrigger = TIM_TRGO_RESET;
  sMasterConfig.MasterSlaveMode = TIM_MASTERSLAVEMODE_DISABLE;
  if (HAL_TIMEx_MasterConfigSynchronization(&htim6, &sMasterConfig) != HAL_OK)
  {
    Error_Handler();
  }

}

static void MX_TIM7_Init(void)
{

  TIM_MasterConfigTypeDef sMasterConfig = {0};

  htim7.Instance = TIM7;
  htim7.Init.Prescaler = 10-1;
  htim7.Init.CounterMode = TIM_COUNTERMODE_UP;
  htim7.Init.Period = 90-1;
  htim7.Init.AutoReloadPreload = TIM_AUTORELOAD_PRELOAD_DISABLE;
  if (HAL_TIM_Base_Init(&htim7) != HAL_OK)
  {
    Error_Handler();
  }
  sMasterConfig.MasterOutputTrigger = TIM_TRGO_RESET;
  sMasterConfig.MasterSlaveMode = TIM_MASTERSLAVEMODE_DISABLE;
  if (HAL_TIMEx_MasterConfigSynchronization(&htim7, &sMasterConfig) != HAL_OK)
  {
    Error_Handler();
  }

}

static void MX_TIM8_Init(void)
{

  TIM_MasterConfigTypeDef sMasterConfig = {0};
  TIM_OC_InitTypeDef sConfigOC = {0};
  TIM_BreakDeadTimeConfigTypeDef sBreakDeadTimeConfig = {0};

  htim8.Instance = TIM8;
  htim8.Init.Prescaler = 90-1;
  htim8.Init.CounterMode = TIM_COUNTERMODE_UP;
  htim8.Init.Period = 100-1;
  htim8.Init.ClockDivision = TIM_CLOCKDIVISION_DIV1;
  htim8.Init.RepetitionCounter = 0;
  htim8.Init.AutoReloadPreload = TIM_AUTORELOAD_PRELOAD_DISABLE;
  if (HAL_TIM_PWM_Init(&htim8) != HAL_OK)
  {
    Error_Handler();
  }
  sMasterConfig.MasterOutputTrigger = TIM_TRGO_RESET;
  sMasterConfig.MasterSlaveMode = TIM_MASTERSLAVEMODE_DISABLE;
  if (HAL_TIMEx_MasterConfigSynchronization(&htim8, &sMasterConfig) != HAL_OK)
  {
    Error_Handler();
  }
  sConfigOC.OCMode = TIM_OCMODE_PWM1;
  sConfigOC.Pulse = 0;
  sConfigOC.OCPolarity = TIM_OCPOLARITY_HIGH;
  sConfigOC.OCNPolarity = TIM_OCNPOLARITY_HIGH;
  sConfigOC.OCFastMode = TIM_OCFAST_DISABLE;
  sConfigOC.OCIdleState = TIM_OCIDLESTATE_RESET;
  sConfigOC.OCNIdleState = TIM_OCNIDLESTATE_RESET;
  if (HAL_TIM_PWM_ConfigChannel(&htim8, &sConfigOC, TIM_CHANNEL_3) != HAL_OK)
  {
    Error_Handler();
  }
  sBreakDeadTimeConfig.OffStateRunMode = TIM_OSSR_DISABLE;
  sBreakDeadTimeConfig.OffStateIDLEMode = TIM_OSSI_DISABLE;
  sBreakDeadTimeConfig.LockLevel = TIM_LOCKLEVEL_OFF;
  sBreakDeadTimeConfig.DeadTime = 0;
  sBreakDeadTimeConfig.BreakState = TIM_BREAK_DISABLE;
  sBreakDeadTimeConfig.BreakPolarity = TIM_BREAKPOLARITY_HIGH;
  sBreakDeadTimeConfig.AutomaticOutput = TIM_AUTOMATICOUTPUT_DISABLE;
  if (HAL_TIMEx_ConfigBreakDeadTime(&htim8, &sBreakDeadTimeConfig) != HAL_OK)
  {
    Error_Handler();
  }
  HAL_TIM_MspPostInit(&htim8);

}

static void MX_TIM10_Init(void)
{

  htim10.Instance = TIM10;
  htim10.Init.Prescaler = 18000-1;
  htim10.Init.CounterMode = TIM_COUNTERMODE_UP;
  htim10.Init.Period = 50-1;
  htim10.Init.ClockDivision = TIM_CLOCKDIVISION_DIV1;
  htim10.Init.AutoReloadPreload = TIM_AUTORELOAD_PRELOAD_DISABLE;
  if (HAL_TIM_Base_Init(&htim10) != HAL_OK)
  {
    Error_Handler();
  }

}

static void MX_USART1_UART_Init(void)
{

  huart1.Instance = USART1;
  huart1.Init.BaudRate = 9600;
  huart1.Init.WordLength = UART_WORDLENGTH_8B;
  huart1.Init.StopBits = UART_STOPBITS_1;
  huart1.Init.Parity = UART_PARITY_NONE;
  huart1.Init.Mode = UART_MODE_TX_RX;
  huart1.Init.HwFlowCtl = UART_HWCONTROL_NONE;
  huart1.Init.OverSampling = UART_OVERSAMPLING_16;
  if (HAL_UART_Init(&huart1) != HAL_OK)
  {
    Error_Handler();
  }

}

static void MX_USART2_UART_Init(void)
{

  huart2.Instance = USART2;
  huart2.Init.BaudRate = 9600;
  huart2.Init.WordLength = UART_WORDLENGTH_8B;
  huart2.Init.StopBits = UART_STOPBITS_1;
  huart2.Init.Parity = UART_PARITY_NONE;
  huart2.Init.Mode = UART_MODE_TX_RX;
  huart2.Init.HwFlowCtl = UART_HWCONTROL_NONE;
  huart2.Init.OverSampling = UART_OVERSAMPLING_16;
  if (HAL_UART_Init(&huart2) != HAL_OK)
  {
    Error_Handler();
  }

}

static void MX_DMA_Init(void)
{

  /* DMA controller clock enable */
  __HAL_RCC_DMA2_CLK_ENABLE();

  /* DMA interrupt init */
  /* DMA2_Stream2_IRQn interrupt configuration */
  HAL_NVIC_SetPriority(DMA2_Stream2_IRQn, 0, 0);
  HAL_NVIC_EnableIRQ(DMA2_Stream2_IRQn);

}

static void MX_GPIO_Init(void)
{
  GPIO_InitTypeDef GPIO_InitStruct = {0};

  /* GPIO Ports Clock Enable */
  __HAL_RCC_GPIOC_CLK_ENABLE();
  __HAL_RCC_GPIOH_CLK_ENABLE();
  __HAL_RCC_GPIOA_CLK_ENABLE();
  __HAL_RCC_GPIOB_CLK_ENABLE();

  /*Configure GPIO pin Output Level */
  HAL_GPIO_WritePin(GPIOB, TEST_COMMAND_PORTE_Pin|HEATER_Pin, GPIO_PIN_RESET);

  /*Configure GPIO pin Output Level */
  HAL_GPIO_WritePin(GPIOC, RELAY_Pin|CMD_PORTE_Pin|ELN_FAN_Pin, GPIO_PIN_RESET);

  /*Configure GPIO pin : B1_Pin */
  GPIO_InitStruct.Pin = B1_Pin;
  GPIO_InitStruct.Mode = GPIO_MODE_IT_FALLING;
  GPIO_InitStruct.Pull = GPIO_NOPULL;
  HAL_GPIO_Init(B1_GPIO_Port, &GPIO_InitStruct);

  /*Configure GPIO pin : LATCH_STATUS2_Pin */
  GPIO_InitStruct.Pin = LATCH_STATUS2_Pin;
  GPIO_InitStruct.Mode = GPIO_MODE_INPUT;
  GPIO_InitStruct.Pull = GPIO_PULLUP;
  HAL_GPIO_Init(LATCH_STATUS2_GPIO_Port, &GPIO_InitStruct);

  /*Configure GPIO pins : DOOR_STATUS2_Pin DATA_Weight_Pin PSCK_Weight_Pin */
  GPIO_InitStruct.Pin = DOOR_STATUS2_Pin|DATA_Weight_Pin|PSCK_Weight_Pin;
  GPIO_InitStruct.Mode = GPIO_MODE_INPUT;
  GPIO_InitStruct.Pull = GPIO_NOPULL;
  HAL_GPIO_Init(GPIOA, &GPIO_InitStruct);

  /*Configure GPIO pins : DOOR_STATUS1_Pin LATCH_STATUS1_Pin */
  GPIO_InitStruct.Pin = DOOR_STATUS1_Pin|LATCH_STATUS1_Pin;
  GPIO_InitStruct.Mode = GPIO_MODE_INPUT;
  GPIO_InitStruct.Pull = GPIO_PULLUP;
  HAL_GPIO_Init(GPIOC, &GPIO_InitStruct);

  /*Configure GPIO pins : TEST_COMMAND_PORTE_Pin HEATER_Pin */
  GPIO_InitStruct.Pin = TEST_COMMAND_PORTE_Pin|HEATER_Pin;
  GPIO_InitStruct.Mode = GPIO_MODE_OUTPUT_PP;
  GPIO_InitStruct.Pull = GPIO_NOPULL;
  GPIO_InitStruct.Speed = GPIO_SPEED_FREQ_LOW;
  HAL_GPIO_Init(GPIOB, &GPIO_InitStruct);

  /*Configure GPIO pin : RELAY_Pin */
  GPIO_InitStruct.Pin = RELAY_Pin;
  GPIO_InitStruct.Mode = GPIO_MODE_OUTPUT_PP;
  GPIO_InitStruct.Pull = GPIO_PULLDOWN;
  GPIO_InitStruct.Speed = GPIO_SPEED_FREQ_LOW;
  HAL_GPIO_Init(RELAY_GPIO_Port, &GPIO_InitStruct);

  /*Configure GPIO pin : FILTRATION_TACHY_Pin */
  GPIO_InitStruct.Pin = FILTRATION_TACHY_Pin;
  GPIO_InitStruct.Mode = GPIO_MODE_INPUT;
  GPIO_InitStruct.Pull = GPIO_NOPULL;
  HAL_GPIO_Init(FILTRATION_TACHY_GPIO_Port, &GPIO_InitStruct);

  /*Configure GPIO pins : CMD_PORTE_Pin ELN_FAN_Pin */
  GPIO_InitStruct.Pin = CMD_PORTE_Pin|ELN_FAN_Pin;
  GPIO_InitStruct.Mode = GPIO_MODE_OUTPUT_PP;
  GPIO_InitStruct.Pull = GPIO_NOPULL;
  GPIO_InitStruct.Speed = GPIO_SPEED_FREQ_LOW;
  HAL_GPIO_Init(GPIOC, &GPIO_InitStruct);

}

/* USER CODE BEGIN 4 */

/**
 * @brief Callback called after a period of a timer
 */
void HAL_TIM_PeriodElapsedCallback(TIM_HandleTypeDef *htim)
{
	if(htim == &htim1 && system_is_active == SYSTEM_ACTIVE && MSG_HEADER_UID_1 != TYPE_MP) // 100ms
	{
		if(buzzer_state)
		{
			if(i_timer1 % 10 == 0) //each 1s
			{
				compteur_buzzer += 1;
				compteur_porte += 1;
				if(fermeture_porte) CPT_CoolingDoorClosed--;
			}

			if((MSG_HEADER_UID_1 == TYPE_MACHINE_TOIT) || (MSG_HEADER_UID_1 == TYPE_MACHINE_RACK))
			{
				if ((compteur_buzzer == MAX_OPENING_TIME_M)) set_buzzer();

				else if(compteur_buzzer == HIGH_STATE_TIME_BUZZER_M)
				{
					stop_buzzer();
					compteur_buzzer = LOW_STATE_TIME_BUZZER_M;
				}
			} else if(MSG_HEADER_UID_1 == TYPE_POST_TREATMENT)
			{
				if ((compteur_buzzer == MAX_OPENING_TIME_PT)) set_buzzer();

				else if(compteur_buzzer == HIGH_STATE_TIME_BUZZER_PT)
				{
					stop_buzzer();
					compteur_buzzer = LOW_STATE_TIME_BUZZER_PT;
				}
			}

		} else {
			HAL_TIM_Base_Stop_IT(&htim1);
			compteur_buzzer = 0;
			stop_buzzer();
		}
		i_timer1+=1;
	}

	if(htim == &htim7 && system_is_active == SYSTEM_ACTIVE) //10µs
	{
		if((i_timer7 % 100000 == 0) && (MSG_HEADER_UID_1 != TYPE_MP)) // Each 10µs * 100'000 -> 1s
		{
			  if(MSG_HEADER_UID_1 == TYPE_MACHINE_TOIT || MSG_HEADER_UID_1 == TYPE_POST_TREATMENT) door_cycle();
			  asservissement(desired_temperature);// Asservissement chauffage

			// (condition) ? {code for YES} : {code for NO}
			if(p_light != light){
				send_lights(light);
				p_light = light;
			}

			get_temp_humi_SHT40();

			// if pressure changes, send
			if(MSG_HEADER_UID_1 == TYPE_MACHINE_TOIT || MSG_HEADER_UID_1 == TYPE_POST_TREATMENT)
			{
				c_Pressure = get_pression();
				if((c_Pressure - p_Pressure) > DELTA_Pressure || (p_Pressure - c_Pressure) > DELTA_Pressure)
				{
					send_pression();
				}

				// Update datas
				p_Pressure = c_Pressure;
			}

			// Send datas

			send_main_msg_current_printer(Cycle_Printer,&huart2);
			send_temp();
			send_humi();
			send_heater_temp();
			if(spg30_read() != -1){ // s'il n'y a pas d'erreur, on envoit
				send_co2();
				send_tvoc();
			}
//			CO2_treatment();
//			TVOC_treatment();
			send_TVOC_CO2_treatments();
			send_typology();
			send_door_state();
			get_ELN_temp();
			send_ELN_temp();
		}
		if(i_timer7 % 5000 == 0) // Each 10µs * 5000 -> 50ms
		{

			if(Incorrect_Values <= 100)
			  Cycle_Printer = 0;
			else Cycle_Printer = 1;

			get_heater_temp();
		}
		if((i_timer7 % 5 == 0) && ((MSG_HEADER_UID_1 == TYPE_MACHINE_RACK) || (MSG_HEADER_UID_1 == TYPE_MACHINE_TOIT))) // each 10µs * 5 = 50µs
		{
			getElectricCurrentConsumption();
		}
		if((i_timer7 % 50000 == 0) && (getWeight == 1) && (MSG_HEADER_UID_1 == TYPE_MP)) // each 0.5s
		{
			if(cpt_GetWeight == 20)
			{
				getWeight=0;
				cpt_GetWeight=0;
			}
			cpt_GetWeight++;
			get_weight();
			send_weight();
		}
		if(i_timer7 % 500000 == 0) // each 5s
		{
			if(last_watchdog_time > i_timer7){ // Clock overflow
				last_watchdog_time = 0;
			}
			if(i_timer7 - last_watchdog_time > 30*100000){ // Watchdog 30s
				NVIC_SystemReset();
			}
		}
		i_timer7+=1;
	}
}

void update_last_watchdog_time(){
	last_watchdog_time = i_timer7;
}

/**
 * @brief Callback used when received a message (full buffer)
 */
void HAL_UART_RxCpltCallback(UART_HandleTypeDef *huart)
{
	parser(Rx_buffer,&huart2);
	memset(Rx_buffer, 0, sizeof(Rx_buffer));

	HAL_UART_Receive_IT(&huart2, Rx_buffer, MSG_SIZE);
}

/* USER CODE END 4 */

void Error_Handler(void)
{
  /* USER CODE BEGIN Error_Handler_Debug */
  /* User can add his own implementation to report the HAL error return state */
//  __disable_irq();
  while (1)
  {
  }
  /* USER CODE END Error_Handler_Debug */
}

/************************ (C) COPYRIGHT STMicroelectronics *****END OF FILE****/
